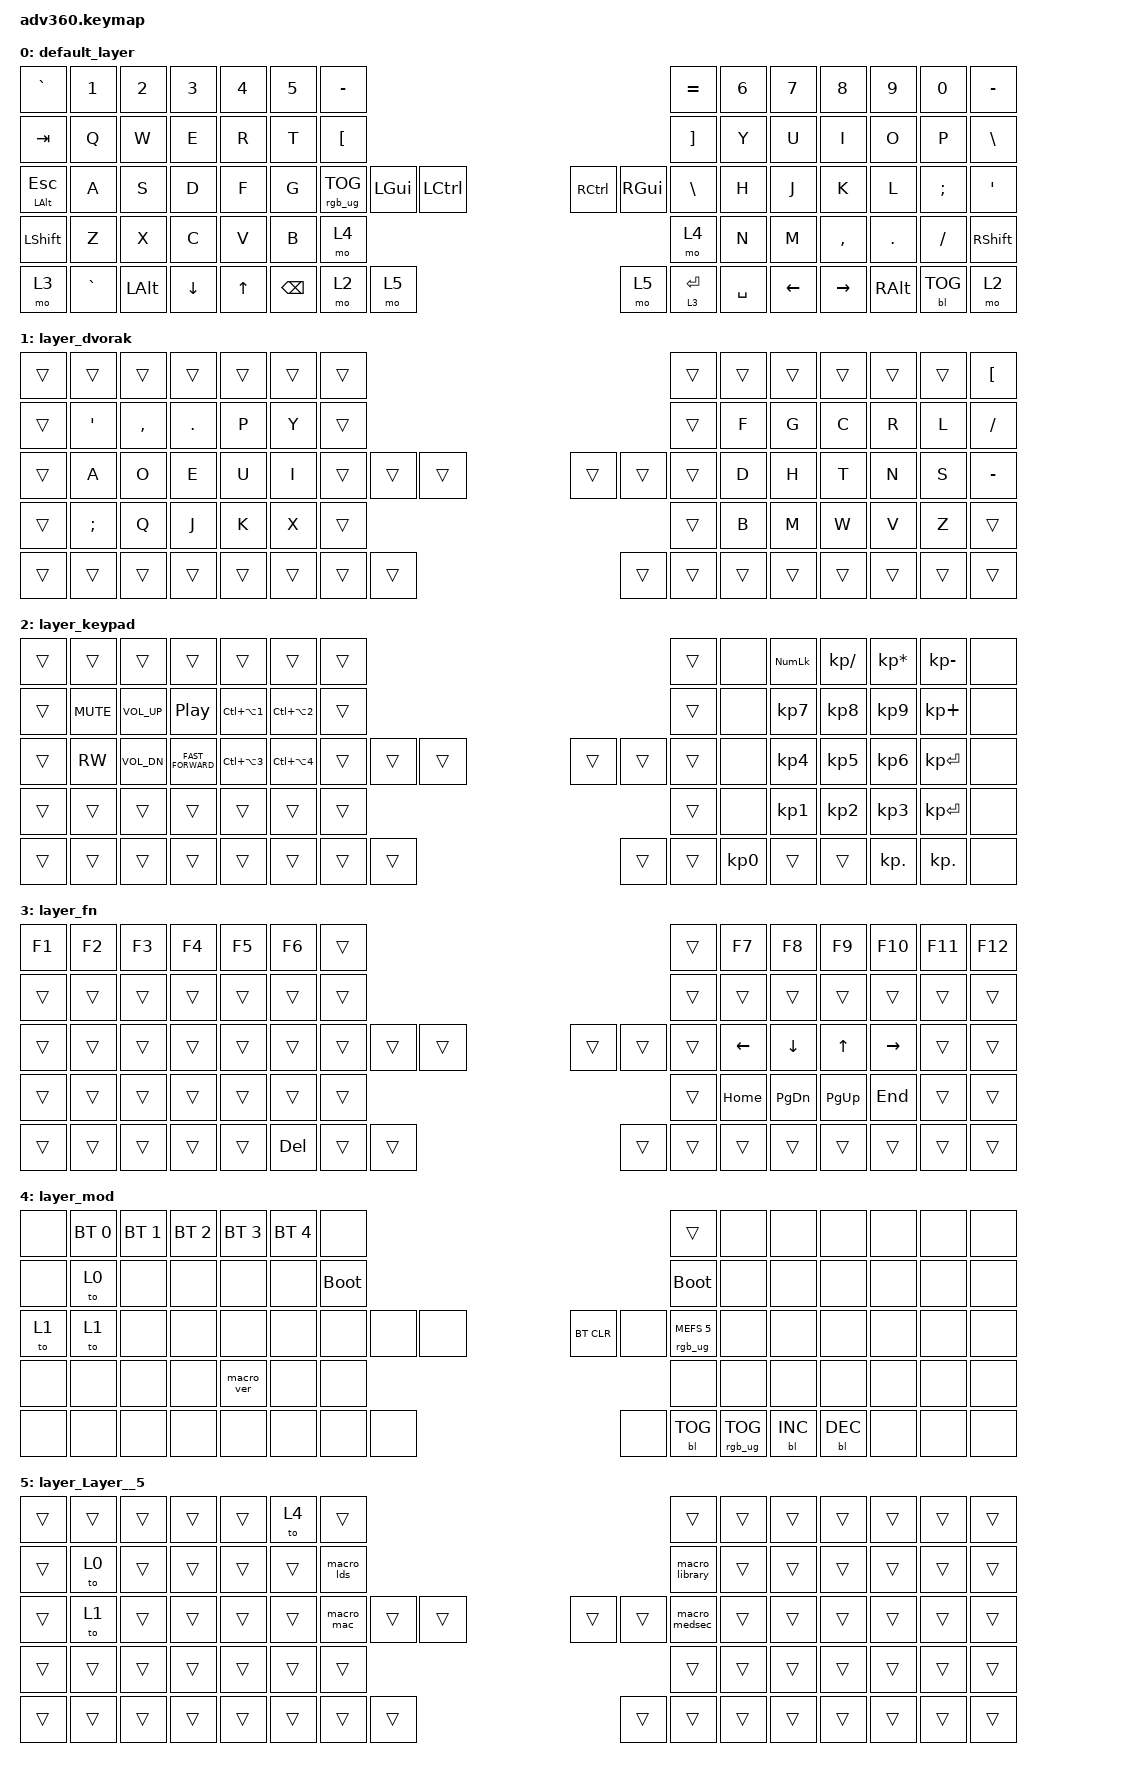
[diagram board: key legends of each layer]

/*
 * Copyright (c) 2020 The ZMK Contributors
 *
 * SPDX-License-Identifier: MIT
 */


/* THIS FILE WAS GENERATED!
 *
 * This file was generated automatically. You may or may not want to
 * edit it directly.
 */

#include <behaviors.dtsi>
#include <dt-bindings/zmk/keys.h>
#include <dt-bindings/zmk/rgb.h>
#include <dt-bindings/zmk/backlight.h>
#include <dt-bindings/zmk/bt.h>

/ {
  behaviors {
    #include "macros.dtsi"
    #include "version.dtsi"

    hm: homerow_mods {
        compatible = "zmk,behavior-hold-tap";
        label = "HOMEROW_MODS";
        #binding-cells = <2>;
        tapping-term-ms = <200>;
        quick_tap_ms = <175>;
        flavor = "tap-preferred";
        bindings = <&kp>, <&kp>;
    };
  };

    keymap {
        compatible = "zmk,keymap";


        default_layer {
            bindings = <
        &kp GRAVE     &kp N1        &kp N2    &kp N3  &kp N4  &kp N5                   &kp MINUS                                                                                            &kp EQUAL  &kp N6    &kp N7     &kp N8         &kp N9      &kp N0  &kp MINUS
          &kp TAB      &kp Q         &kp W     &kp E   &kp R   &kp T            &kp LEFT_BRACKET                                                                                    &kp RIGHT_BRACKET   &kp Y     &kp U      &kp I          &kp O       &kp P   &kp BSLH
 &mt LEFT_ALT ESC      &kp A         &kp S     &kp D   &kp F   &kp G             &rgb_ug RGB_TOG  &kp LEFT_GUI  &kp LEFT_CONTROL                  &kp RIGHT_CONTROL  &kp RIGHT_GUI      &kp BACKSLASH   &kp H     &kp J      &kp K          &kp L    &kp SEMI    &kp SQT
        &kp LSHFT      &kp Z         &kp X     &kp C   &kp V   &kp B                                                       &mo 4                              &mo 4                                     &kp N     &kp M  &kp COMMA        &kp DOT    &kp FSLH  &kp RSHFT
            &mo 3  &kp GRAVE  &kp LEFT_ALT  &kp DOWN  &kp UP                       &kp BACKSPACE         &mo 2             &mo 5                              &mo 5   &lt 3 RETURN          &kp SPACE          &kp LEFT  &kp RIGHT  &kp RIGHT_ALT  &bl BL_TOG      &mo 2
            >;
        };

        layer_dvorak {
            bindings = <
 &trans         &trans     &trans   &trans  &trans  &trans            &trans                                                  &trans  &trans  &trans  &trans  &trans  &trans  &kp LEFT_BRACKET
 &trans       &kp APOS  &kp COMMA  &kp DOT   &kp P   &kp Y            &trans                                                  &trans   &kp F   &kp G   &kp C   &kp R   &kp L         &kp SLASH
 &trans          &kp A      &kp O    &kp E   &kp U   &kp I            &trans  &trans  &trans                  &trans  &trans  &trans   &kp D   &kp H   &kp T   &kp N   &kp S         &kp MINUS
 &trans  &kp SEMICOLON      &kp Q    &kp J   &kp K   &kp X                            &trans                  &trans                   &kp B   &kp M   &kp W   &kp V   &kp Z            &trans
 &trans         &trans     &trans   &trans  &trans                    &trans  &trans  &trans                  &trans  &trans  &trans          &trans  &trans  &trans  &trans            &trans
            >;
        };

        layer_keypad {
            bindings = <
 &trans      &trans        &trans              &trans                &trans          &trans            &trans                                                     &trans   &none  &kp KP_NUM  &kp KP_SLASH  &kp KP_MULTIPLY  &kp KP_MINUS   &none
 &trans  &kp C_MUTE  &kp C_VOL_UP    &kp C_PLAY_PAUSE  &kp LC(LA(NUMBER_1))  &kp LC(LA(N2))            &trans                                                     &trans   &none   &kp KP_N7     &kp KP_N8        &kp KP_N9   &kp KP_PLUS   &none
 &trans    &kp C_RW  &kp C_VOL_DN  &kp C_FAST_FORWARD        &kp LC(LA(N3))  &kp LC(LA(N4))            &trans  &trans  &trans                  &trans  &trans     &trans   &none   &kp KP_N4     &kp KP_N5        &kp KP_N6  &kp KP_ENTER   &none
 &trans      &trans        &trans              &trans                &trans          &trans                            &trans                  &trans                      &none   &kp KP_N1     &kp KP_N2        &kp KP_N3  &kp KP_ENTER   &none
 &trans      &trans        &trans              &trans                &trans                            &trans  &trans  &trans                  &trans  &trans  &kp KP_N0              &trans        &trans       &kp KP_DOT    &kp KP_DOT   &none
            >;
        };

        layer_fn {
            bindings = <
 &kp F1  &kp F2  &kp F3  &kp F4  &kp F5  &kp F6                &trans                                                  &trans          &kp F7          &kp F8        &kp F9          &kp F10  &kp F11  &kp F12
 &trans  &trans  &trans  &trans  &trans  &trans                &trans                                                  &trans          &trans          &trans        &trans           &trans   &trans   &trans
 &trans  &trans  &trans  &trans  &trans  &trans                &trans  &trans  &trans                  &trans  &trans  &trans  &kp LEFT_ARROW  &kp DOWN_ARROW  &kp UP_ARROW  &kp RIGHT_ARROW   &trans   &trans
 &trans  &trans  &trans  &trans  &trans  &trans                                &trans                  &trans                        &kp HOME   &kp PAGE_DOWN   &kp PAGE_UP          &kp END   &trans   &trans
 &trans  &trans  &trans  &trans  &trans                    &kp DELETE  &trans  &trans                  &trans  &trans  &trans                          &trans        &trans           &trans   &trans   &trans
            >;
        };

        layer_mod {
            bindings = <
  &none  &bt BT_SEL 0  &bt BT_SEL 1  &bt BT_SEL 2  &bt BT_SEL 3  &bt BT_SEL 4                  &none                                                                          &trans   &none       &none       &none   &none   &none   &none
  &none         &to 0         &none         &none         &none         &none            &bootloader                                                                     &bootloader   &none       &none       &none   &none   &none   &none
  &to 1         &to 1         &none         &none         &none         &none                  &none   &none   &none                  &bt BT_CLR       &none  &rgb_ug RGB_MEFS_CMD 5   &none       &none       &none   &none   &none   &none
  &none         &none         &none         &none    &macro_ver         &none                                  &none                       &none                                       &none       &none       &none   &none   &none   &none
  &none         &none         &none         &none         &none                                &none   &none   &none                       &none  &bl BL_TOG         &rgb_ug RGB_TOG          &bl BL_INC  &bl BL_DEC   &none   &none   &none
            >;
        };

        layer_Layer__5 {
            bindings = <
 &trans  &trans  &trans  &trans  &trans   &to 4                &trans                                                          &trans  &trans  &trans  &trans  &trans  &trans  &trans
 &trans   &to 0  &trans  &trans  &trans  &trans            &macro_lds                                                  &macro_library  &trans  &trans  &trans  &trans  &trans  &trans
 &trans   &to 1  &trans  &trans  &trans  &trans            &macro_mac  &trans  &trans                  &trans  &trans   &macro_medsec  &trans  &trans  &trans  &trans  &trans  &trans
 &trans  &trans  &trans  &trans  &trans  &trans                                &trans                  &trans                          &trans  &trans  &trans  &trans  &trans  &trans
 &trans  &trans  &trans  &trans  &trans                        &trans  &trans  &trans                  &trans  &trans          &trans          &trans  &trans  &trans  &trans  &trans
            >;
        };

    };
};
